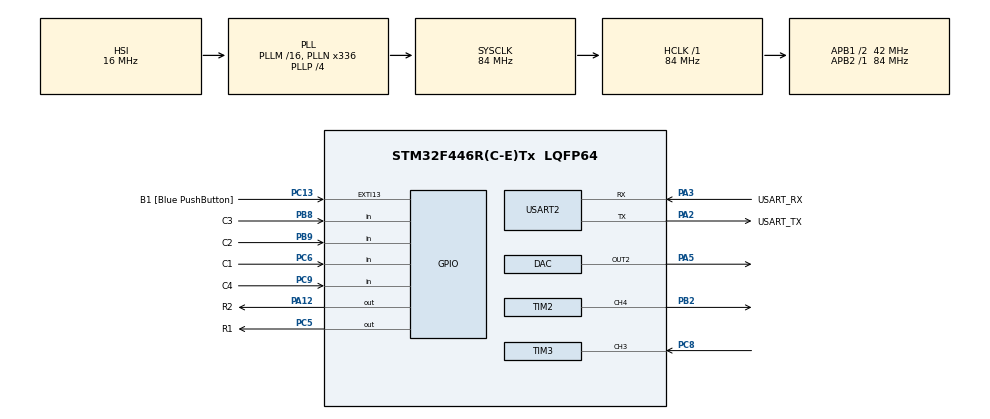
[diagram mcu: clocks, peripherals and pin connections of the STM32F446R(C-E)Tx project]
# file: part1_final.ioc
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DAC.DAC_Trigger2=DAC_TRIGGER_T4_TRGO
Dma.DAC2.1.Direction=DMA_MEMORY_TO_PERIPH
Dma.DAC2.1.FIFOMode=DMA_FIFOMODE_DISABLE
Dma.DAC2.1.Instance=DMA1_Stream6
Dma.DAC2.1.MemDataAlignment=DMA_MDATAALIGN_WORD
Dma.DAC2.1.MemInc=DMA_MINC_ENABLE
Dma.DAC2.1.Mode=DMA_NORMAL
Dma.DAC2.1.PeriphDataAlignment=DMA_PDATAALIGN_WORD
Dma.DAC2.1.PeriphInc=DMA_PINC_DISABLE
Dma.DAC2.1.Priority=DMA_PRIORITY_VERY_HIGH
Dma.Request0=TIM3_CH3
Dma.Request1=DAC2
Dma.TIM3_CH3.0.Direction=DMA_PERIPH_TO_MEMORY
Dma.TIM3_CH3.0.FIFOMode=DMA_FIFOMODE_DISABLE
Dma.TIM3_CH3.0.Instance=DMA1_Stream7
Dma.TIM3_CH3.0.MemDataAlignment=DMA_MDATAALIGN_WORD
Dma.TIM3_CH3.0.MemInc=DMA_MINC_ENABLE
Dma.TIM3_CH3.0.Mode=DMA_CIRCULAR
Dma.TIM3_CH3.0.PeriphDataAlignment=DMA_PDATAALIGN_WORD
Dma.TIM3_CH3.0.PeriphInc=DMA_PINC_DISABLE
Dma.TIM3_CH3.0.Priority=DMA_PRIORITY_LOW
Mcu.Family=STM32F4
Mcu.Name=STM32F446R(C-E)Tx
Mcu.Package=LQFP64
NVIC.DMA1_Stream6_IRQn=true\:0\:0\:false\:false\:true\:false
NVIC.DMA1_Stream7_IRQn=true\:0\:0\:false\:false\:true\:false
NVIC.PriorityGroup=NVIC_PRIORITYGROUP_0
NVIC.TIM2_IRQn=true\:0\:0\:false\:false\:true\:true
NVIC.TIM3_IRQn=true\:0\:0\:false\:false\:true\:true
NVIC.TIM4_IRQn=true\:0\:0\:false\:false\:true\:true
PA12.GPIO_Label=R2
PA12.GPIO_ModeDefaultOutputPP=GPIO_MODE_OUTPUT_OD
PA12.Signal=GPIO_Output
PA13.GPIO_Label=TMS
PA13.Mode=Serial_Wire
PA13.Signal=SYS_JTMS-SWDIO
PA14.GPIO_Label=TCK
PA14.Mode=Serial_Wire
PA14.Signal=SYS_JTCK-SWCLK
PA2.GPIO_Label=USART_TX
PA2.Mode=Asynchronous
PA2.Signal=USART2_TX
PA3.GPIO_Label=USART_RX
PA3.Mode=Asynchronous
PA3.Signal=USART2_RX
PA5.Signal=COMP_DAC2_group
PB2.Signal=S_TIM2_CH4
PB3.GPIO_Label=SWO
PB3.Signal=SYS_JTDO-SWO
PB8.GPIO_Label=C3
PB8.GPIO_PuPd=GPIO_PULLUP
PB8.Signal=GPIO_Input
PB9.GPIO_Label=C2
PB9.GPIO_PuPd=GPIO_PULLUP
PB9.Signal=GPIO_Input
PC13.GPIO_Label=B1 [Blue PushButton]
PC13.GPIO_ModeDefaultEXTI=GPIO_MODE_IT_FALLING
PC13.Signal=GPXTI13
PC14-OSC32_IN.Mode=LSE-External-Oscillator
PC14-OSC32_IN.Signal=RCC_OSC32_IN
PC15-OSC32_OUT.Mode=LSE-External-Oscillator
PC15-OSC32_OUT.Signal=RCC_OSC32_OUT
PC5.GPIO_Label=R1
PC5.GPIO_ModeDefaultOutputPP=GPIO_MODE_OUTPUT_OD
PC5.Signal=GPIO_Output
PC6.GPIO_Label=C1
PC6.GPIO_PuPd=GPIO_PULLUP
PC6.Signal=GPIO_Input
PC8.Signal=S_TIM3_CH3
PC9.GPIO_Label=C4
PC9.GPIO_PuPd=GPIO_PULLUP
PC9.Signal=GPIO_Input
PH0-OSC_IN.Mode=HSE-External-Oscillator
PH0-OSC_IN.Signal=RCC_OSC_IN
PH1-OSC_OUT.Mode=HSE-External-Oscillator
PH1-OSC_OUT.Signal=RCC_OSC_OUT
ProjectManager.HeapSize=0x200
ProjectManager.StackSize=0x400
ProjectManager.TargetToolchain=MDK-ARM V5
RCC.48MHZClocksFreq_Value=84000000
RCC.AHBFreq_Value=84000000
RCC.APB1CLKDivider=RCC_HCLK_DIV2
RCC.APB1Freq_Value=42000000
RCC.APB1TimFreq_Value=84000000
RCC.APB2Freq_Value=84000000
RCC.APB2TimFreq_Value=84000000
RCC.CortexFreq_Value=84000000
RCC.FLatency-AdvancedSettings=FLASH_LATENCY_2
RCC.HCLKFreq_Value=84000000
RCC.HSE_VALUE=8000000
RCC.HSI_VALUE=16000000
RCC.PLLN=336
RCC.PLLP=RCC_PLLP_DIV4
RCC.SYSCLKFreq_VALUE=84000000
RCC.SYSCLKSource=RCC_SYSCLKSOURCE_PLLCLK
RCC.USBFreq_Value=168000000
RCC.VCOOutputFreq_Value=336000000
SH.COMP_DAC2_group.0=DAC_OUT2,DAC_OUT2
SH.S_TIM2_CH4.0=TIM2_CH4,PWM Generation4 CH4
SH.S_TIM3_CH3.0=TIM3_CH3,Input_Capture3_from_TI3
TIM2.Channel-PWM\ Generation4\ CH4=TIM_CHANNEL_4
TIM2.Period=9999
TIM2.Prescaler=839
TIM2.Pulse-PWM\ Generation4\ CH4=8000
TIM3.Channel-Input_Capture3_from_TI3=TIM_CHANNEL_3
TIM3.ICPolarity_CH3=TIM_INPUTCHANNELPOLARITY_BOTHEDGE
TIM3.Period=65535
TIM3.Prescaler=83
TIM4.Period=99
TIM4.Prescaler=20
TIM4.TIM_MasterOutputTrigger=TIM_TRGO_UPDATE
USART2.VirtualMode=VM_ASYNC
VP_TIM2_VS_ClockSourceINT.Mode=Internal
VP_TIM3_VS_ClockSourceINT.Mode=Internal
VP_TIM4_VS_ClockSourceINT.Mode=Internal
board=NUCLEO-F446RE

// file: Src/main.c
/**
  ******************************************************************************
  * @file           : main.c
  * @brief          : Main program body
  ******************************************************************************
  ** This notice applies to any and all portions of this file
  * that are not between comment pairs USER CODE BEGIN and
  * USER CODE END. Other portions of this file, whether
  * inserted by the user or by software development tools
  * are owned by their respective copyright owners.
  *
  * COPYRIGHT(c) 2018 STMicroelectronics
  *
  * Redistribution and use in source and binary forms, with or without modification,
  * are permitted provided that the following conditions are met:
  *   1. Redistributions of source code must retain the above copyright notice,
  *      this list of conditions and the following disclaimer.
  *   2. Redistributions in binary form must reproduce the above copyright notice,
  *      this list of conditions and the following disclaimer in the documentation
  *      and/or other materials provided with the distribution.
  *   3. Neither the name of STMicroelectronics nor the names of its contributors
  *      may be used to endorse or promote products derived from this software
  *      without specific prior written permission.
  *
  * THIS SOFTWARE IS PROVIDED BY THE COPYRIGHT HOLDERS AND CONTRIBUTORS "AS IS"
  * AND ANY EXPRESS OR IMPLIED WARRANTIES, INCLUDING, BUT NOT LIMITED TO, THE
  * IMPLIED WARRANTIES OF MERCHANTABILITY AND FITNESS FOR A PARTICULAR PURPOSE ARE
  * DISCLAIMED. IN NO EVENT SHALL THE COPYRIGHT HOLDER OR CONTRIBUTORS BE LIABLE
  * FOR ANY DIRECT, INDIRECT, INCIDENTAL, SPECIAL, EXEMPLARY, OR CONSEQUENTIAL
  * DAMAGES (INCLUDING, BUT NOT LIMITED TO, PROCUREMENT OF SUBSTITUTE GOODS OR
  * SERVICES; LOSS OF USE, DATA, OR PROFITS; OR BUSINESS INTERRUPTION) HOWEVER
  * CAUSED AND ON ANY THEORY OF LIABILITY, WHETHER IN CONTRACT, STRICT LIABILITY,
  * OR TORT (INCLUDING NEGLIGENCE OR OTHERWISE) ARISING IN ANY WAY OUT OF THE USE
  * OF THIS SOFTWARE, EVEN IF ADVISED OF THE POSSIBILITY OF SUCH DAMAGE.
  *
  ******************************************************************************
  */
#include "main.h"
#include "stm32f4xx_hal.h"
#include "dac.h"
#include "dma.h"
#include "tim.h"
#include "usart.h"
#include "gpio.h"

/* USER CODE BEGIN Includes */
#include "LCD.h"
#include <math.h>
#include "Part_1.c"
#include "Part_2.c"
#include "Part_3.c"

/* USER CODE END Includes */

/* USER CODE BEGIN PV */
/* Private variables ---------------------------------------------------------*/
//-------------- -----------------------------------PART 1

uint32_t captures[2]={0};//temps enregistré des captures
// Interrupts flags - Begin
volatile uint8_t captureDone=0;
volatile uint8_t flag_half_second =0;
volatile uint8_t flag_tempo = 0;
volatile uint8_t DMA_done=0;
uint8_t DMA_state = 0;
int note_buffer = 0;

uint32_t notes_musique;
const uint16_t ZELDA_LUT_SIZE=128;
const uint16_t MARIO_LUT_SIZE=304;
const int8_t ZELDA_LUT[]={
21,14,10,7,19,14,10,7,18,14,10,7,19,14,10,7,19,12,9,5,17,12,9,5,16,12,9,5,
17,12,9,5,17,10,7,4,16,10,7,4,15,10,7,4,16,10,7,4,16,9,5,2,14,9,5,2,13,9,5,2,
14,9,5,2,21,14,10,7,19,14,10,7,18,14,10,7,19,14,10,7,22,15,12,9,21,15,12,9,
20,15,12,9,21,15,12,9,24,14,10,7,22,14,10,7,21,14,10,7,22,14,10,7,21,10,7,4,19,10,7,4,
17,10,7,4,16,10,7,4
};
const int8_t MARIO_LUT[]={
16,16,-1,16,-1,12,16,-1,19,-1,-1,-1,7,-1,-1,12,-1,-1,7,-1,-1,4,-1,-1,9,-1,11,-1,10,9,-1,7,
16,-1,19,21,-1,17,19,-1,16,-1,12,-1,14,11,-1,-1,19,18,17,14,-1,16,-1,7,9,12,-1,9,12,14,-1,19,
18,17,14,-1,16,-1,24,-1,24,24,-1,-1,-1,-1,-1,19,18,17,14,-1,16,-1,7,9,12,-1,9,12,14,-1,-1,15,-1,-1,
14,-1,-1,12,-1,-1,-1,-1,-1,12,12,-1,12,-1,12,14,-1,16,12,-1,9,7,-1,-1,-1,12,12,-1,12,-1,12,14,16,-1,-1,-1,-1,-1,
12,12,-1,12,-1,12,14,-1,16,12,-1,9,7,-1,-1,16,16,-1,16,-1,12,16,-1,19,-1,-1,-1,7,-1,-1,-1,12,-1,-1,7,-1,-1,4,-1,-1,9,-1,
11,-1,10,9,-1,7,16,-1,19,21,-1,17,19,-1,16,-1,12,-1,14,11,-1,-1,12,-1,-1,7,-1,-1,4,-1,-1,9,-1,11,-1,10,9,-1,7,16,-1,19,21,-1,17,
19,-1,16,-1,12,-1,14,11,-1,-1,-1,16,12,-1,7,-1,-1,7,-1,9,17,-1,17,9,-1,11,-1,21,-1,21,-1,21,19,-1,17,-1,16,12,-1,9,7,-1,-1,
16,12,-1,7,-1,-1,7,-1,-1,9,17,-1,17,9,-1,-1,11,-1,17,-1,17,-1,17,-1,16,-1,14,-1,12,7,-1,4,0,-1,-1,-1,-1,-1
};
// Interrupts flags - End

/* USER CODE END PV */

void SystemClock_Config(void);

/* USER CODE BEGIN PFP */
/* Private function prototypes -----------------------------------------------*/

void HAL_TIM_IC_CaptureCallback(TIM_HandleTypeDef *htim);
void HAL_TIM_PeriodElapsedCallback(TIM_HandleTypeDef *htim);

void HAL_DACEx_ConvCpltCallbackCh2(DAC_HandleTypeDef* hdac);
/* USER CODE END PFP */

int main(void)
{

  /* MCU Configuration----------------------------------------------------------*/

  /* Reset of all peripherals, Initializes the Flash interface and the Systick. */
  HAL_Init();

  /* Configure the system clock */
  SystemClock_Config();

  /* Initialize all configured peripherals */
  MX_GPIO_Init();
  MX_DMA_Init();
  MX_USART2_UART_Init();
  MX_TIM3_Init();
  MX_TIM2_Init();
  MX_DAC_Init();
  MX_TIM4_Init();
  /* USER CODE BEGIN 2 */
	LCD_Begin();

	HAL_TIM_Base_Start_IT(&htim4);
	HAL_TIM_IC_Start_DMA(&htim3, TIM_CHANNEL_3, (uint32_t*) captures, 2);
	HAL_TIM_Base_Start_IT(&htim2);

	DerroulementMenu(); // Affichage du menu d'accueil
	update_tab(to_process, &setting1);//on demarre les ping-pong buffer
	HAL_DAC_Start_DMA(&hdac, DAC_CHANNEL_2, (uint32_t*)to_process,DMA_SIZE, DAC_ALIGN_12B_R);

  /* USER CODE END 2 */

  /* Infinite loop */
  while (1)
  {

  /* USER CODE BEGIN 3 */
		if(setting1.Mode == MODE0 || setting1.Mode == MODE1 || setting1.Mode == MODE2){
			if(captureDone==1)//chaque 1ms
			{//pour que note[0] change, on doit attendre 10 ms, donc on ne vérifie que si it=0, car cest apres les 10ms que note est update
				captureDone=0;
				note_buffer = note[0];//keep track of the last note
				refresh_distance();//update la distance
				if( it==0 && note[0]>=0 && note_buffer != note[0])
				{
					play_note(note[0], setting1.Instrument);//change the note output by DMA

					if(setting1.Mode != MODE1)
					{
							iterateur_adsr = 0;//on recommence l'enveloppe (on rejoue la note du début)
							update_tab(to_write, &setting1);

							if(DMA_state == 0)
							{
								// Si le DMA est à OFF, on le restart avec la bonne note que le sensor vient de compute
								//on veut le to_wite, on vient de le compute...
								uint32_t * temp =to_write;//temp : celui quon vient de compute
								to_write=to_process;
								to_process=temp;
								HAL_DAC_Start_DMA(&hdac, DAC_CHANNEL_2, (uint32_t*)to_process,DMA_SIZE, DAC_ALIGN_12B_R);
								update_tab(to_write, &setting1);
								DMA_state = 1;// DMA est à ON
							}
					}
				}
				// we are changing note. Restart the adsr iterator and stop the DMA (stop playing the last
				// note and compute the ping-pong buffer for the new one
				else if(note[0]<0)
				{
					iterateur_adsr = 0;
					DMA_state = 0; // DMA est à OFF
				}

		}

			if(flag_half_second==1)
			{
				flag_half_second=0;
				switch (setting1.Mode){
					case MODE0:
					showNoteMode0(&position02);
					break;

					case MODE1:
						showNoteMode1(&position1);
					break;

					case MODE2:
						showNoteMode2(&position02);
					break;
				}
			}
		}
		else if(setting1.Mode == MODEMARIO || setting1.Mode == MODEZELDA){
			if(setting1.Mode == MODEMARIO){
				if(flag_tempo==1)
				{
					flag_tempo = 0;
					setting1.Instrument = 0;
					play_note(MARIO_LUT[notes_musique],4);
					iterateur_adsr = 0;
					notes_musique++;
					if(notes_musique == MARIO_LUT_SIZE) notes_musique = 0;
				}
			}

			else if(setting1.Mode == MODEZELDA){
				if(flag_tempo==1)
				{
					flag_tempo = 0;
					play_note(ZELDA_LUT[notes_musique],4);
					iterateur_adsr = 0;
					notes_musique++;
					if(notes_musique == ZELDA_LUT_SIZE) notes_musique = 0;
				}
			}
		}

		if(DMA_done==1)
		{
			if(to_write==dac_buffer_ping)
			{
				to_write=dac_buffer_pong;
				to_process=dac_buffer_ping;

			}
			else
			{
				to_write=dac_buffer_ping;
				to_process=dac_buffer_pong;

			}
			if(note[0]>=0|| DMA_state!=0)
			{
				HAL_DAC_Start_DMA(&hdac, DAC_CHANNEL_2, (uint32_t*)to_process,DMA_SIZE, DAC_ALIGN_12B_R);
				update_tab(to_write, &setting1);
			}
			DMA_done=0;

		}
  }
  /* USER CODE END 3 */

}

void SystemClock_Config(void)
{

  RCC_OscInitTypeDef RCC_OscInitStruct;
  RCC_ClkInitTypeDef RCC_ClkInitStruct;

    /**Configure the main internal regulator output voltage
    */
  __HAL_RCC_PWR_CLK_ENABLE();

  __HAL_PWR_VOLTAGESCALING_CONFIG(PWR_REGULATOR_VOLTAGE_SCALE3);

    /**Initializes the CPU, AHB and APB busses clocks
    */
  RCC_OscInitStruct.OscillatorType = RCC_OSCILLATORTYPE_HSI;
  RCC_OscInitStruct.HSIState = RCC_HSI_ON;
  RCC_OscInitStruct.HSICalibrationValue = 16;
  RCC_OscInitStruct.PLL.PLLState = RCC_PLL_ON;
  RCC_OscInitStruct.PLL.PLLSource = RCC_PLLSOURCE_HSI;
  RCC_OscInitStruct.PLL.PLLM = 16;
  RCC_OscInitStruct.PLL.PLLN = 336;
  RCC_OscInitStruct.PLL.PLLP = RCC_PLLP_DIV4;
  RCC_OscInitStruct.PLL.PLLQ = 2;
  RCC_OscInitStruct.PLL.PLLR = 2;
  if (HAL_RCC_OscConfig(&RCC_OscInitStruct) != HAL_OK)
  {
    _Error_Handler(__FILE__, __LINE__);
  }

    /**Initializes the CPU, AHB and APB busses clocks
    */
  RCC_ClkInitStruct.ClockType = RCC_CLOCKTYPE_HCLK|RCC_CLOCKTYPE_SYSCLK
                              |RCC_CLOCKTYPE_PCLK1|RCC_CLOCKTYPE_PCLK2;
  RCC_ClkInitStruct.SYSCLKSource = RCC_SYSCLKSOURCE_PLLCLK;
  RCC_ClkInitStruct.AHBCLKDivider = RCC_SYSCLK_DIV1;
  RCC_ClkInitStruct.APB1CLKDivider = RCC_HCLK_DIV2;
  RCC_ClkInitStruct.APB2CLKDivider = RCC_HCLK_DIV1;

  if (HAL_RCC_ClockConfig(&RCC_ClkInitStruct, FLASH_LATENCY_2) != HAL_OK)
  {
    _Error_Handler(__FILE__, __LINE__);
  }

    /**Configure the Systick interrupt time
    */
  HAL_SYSTICK_Config(HAL_RCC_GetHCLKFreq()/1000);

    /**Configure the Systick
    */
  HAL_SYSTICK_CLKSourceConfig(SYSTICK_CLKSOURCE_HCLK);

  /* SysTick_IRQn interrupt configuration */
  HAL_NVIC_SetPriority(SysTick_IRQn, 0, 0);
}

/* USER CODE BEGIN 4 */

//-----------------------------------------------------------------------------PART1

void HAL_TIM_IC_CaptureCallback(TIM_HandleTypeDef *htim) {

	if (htim->Channel == HAL_TIM_ACTIVE_CHANNEL_3)
	{

			captureDone = 1;//chaque fois que le input capture a détecté 2 edges
	}

}

void HAL_TIM_PeriodElapsedCallback(TIM_HandleTypeDef *htim) {

	if(htim->Instance == TIM2)
	{
		static uint8_t local_time=0;
		static uint8_t tempo = 0;
		local_time++;
		tempo++;
		if(local_time >= 5)
		{
			local_time =0;
			flag_half_second = 1;//chaque 0,5 seconde on refresh l'écran
		}
		if(tempo >= 2)
		{
			flag_tempo = 1;
			tempo = 0;
		}
	}
}

//--------------------------------------------------------------------------------------------PART2

void HAL_DACEx_ConvCpltCallbackCh2(DAC_HandleTypeDef* hdac)
{

		DMA_done=1;//quand le dma est arrivé au bout du tableau pour feeder le DAC
}

/* USER CODE END 4 */

void _Error_Handler(char *file, int line)
{
  while(1)
  {
  }
}

/************************ (C) COPYRIGHT STMicroelectronics *****END OF FILE****/
